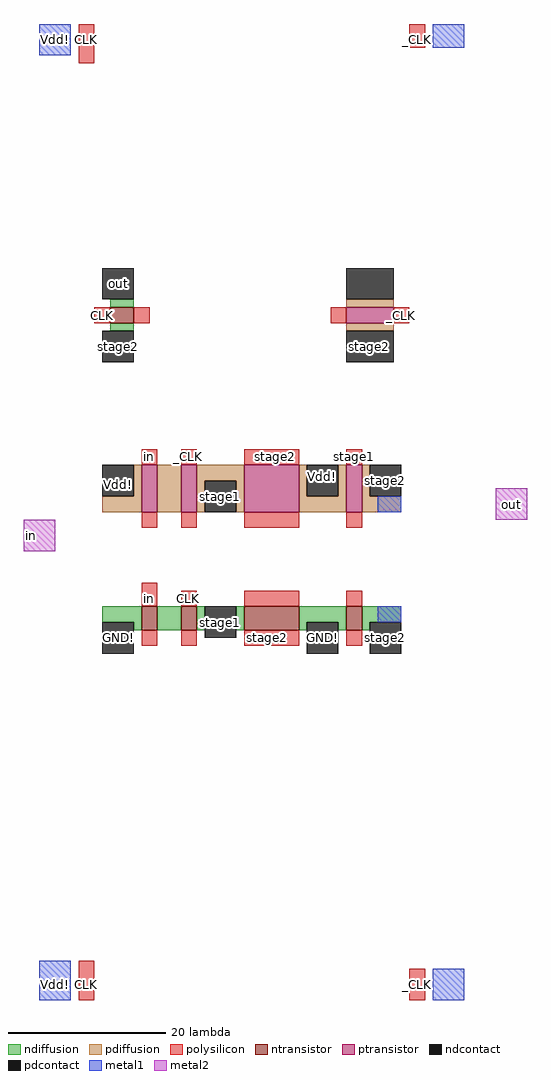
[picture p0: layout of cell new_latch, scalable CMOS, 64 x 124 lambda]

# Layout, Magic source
magic
tech scmos
<< ntransistor >>
rect 43 58 46 60
rect 47 19 49 22
rect 52 19 54 22
rect 60 19 67 22
rect 73 19 75 22
<< ptransistor >>
rect 73 58 79 60
rect 47 34 49 40
rect 52 34 54 40
rect 60 34 67 40
rect 73 34 75 40
<< ndiffusion >>
rect 43 60 46 61
rect 43 57 46 58
rect 42 20 47 22
rect 46 19 47 20
rect 49 19 52 22
rect 54 19 55 22
rect 59 19 60 22
rect 67 20 73 22
rect 67 19 68 20
rect 72 19 73 20
rect 75 20 80 22
rect 75 19 76 20
<< pdiffusion >>
rect 73 60 79 61
rect 73 57 79 58
rect 46 36 47 40
rect 42 34 47 36
rect 49 34 52 40
rect 54 38 60 40
rect 54 34 55 38
rect 59 34 60 38
rect 67 36 68 40
rect 72 36 73 40
rect 67 34 73 36
rect 75 36 76 40
rect 75 34 80 36
<< ndcontact >>
rect 42 61 46 65
rect 42 53 46 57
rect 42 16 46 20
rect 55 18 59 22
rect 68 16 72 20
rect 76 16 80 20
<< pdcontact >>
rect 73 61 79 65
rect 73 53 79 57
rect 42 36 46 40
rect 55 34 59 38
rect 68 36 72 40
rect 76 36 80 40
<< polysilicon >>
rect 39 91 41 96
rect 81 93 83 96
rect 41 58 43 60
rect 46 58 48 60
rect 71 58 73 60
rect 79 58 81 60
rect 47 40 49 42
rect 52 40 54 42
rect 60 40 67 42
rect 73 40 75 42
rect 47 32 49 34
rect 52 32 54 34
rect 60 32 67 34
rect 73 32 75 34
rect 47 22 49 25
rect 52 22 54 24
rect 60 22 67 24
rect 73 22 75 24
rect 47 17 49 19
rect 52 17 54 19
rect 60 17 67 19
rect 73 17 75 19
rect 39 -28 41 -23
rect 81 -28 83 -24
<< metal1 >>
rect 34 92 38 96
rect 84 93 88 96
rect 77 34 80 36
rect 77 20 80 22
rect 34 -28 38 -23
rect 84 -28 88 -24
<< metal2 >>
rect 92 33 96 37
rect 32 29 36 33
<< labels >>
rlabel metal2 33 29 33 33 3 in
rlabel pdcontact 44 37 44 38 1 Vdd!
rlabel pdcontact 70 38 70 39 1 Vdd!
rlabel metal1 36 94 36 94 4 Vdd!
rlabel metal1 36 -26 36 -26 2 Vdd!
rlabel polysilicon 40 94 40 94 5 CLK
rlabel polysilicon 40 -26 40 -26 1 CLK
rlabel polysilicon 82 94 82 94 5 _CLK
rlabel polysilicon 82 -26 82 -26 1 _CLK
rlabel metal1 86 94 86 94 5 GND!
rlabel metal1 86 -26 86 -26 1 GND!
rlabel ndcontact 44 18 44 18 1 GND!
rlabel ndcontact 70 18 70 18 1 GND!
rlabel polysilicon 53 23 53 23 1 CLK
rlabel polysilicon 48 41 48 41 1 in
rlabel polysilicon 48 23 48 23 1 in
rlabel polysilicon 42 59 42 59 1 CLK
rlabel polysilicon 53 41 53 41 1 _CLK
rlabel polysilicon 80 59 80 59 1 _CLK
rlabel pdcontact 57 36 57 36 1 stage1
rlabel ndcontact 57 20 57 20 1 stage1
rlabel polysilicon 74 41 74 41 1 stage1
rlabel polysilicon 74 18 74 18 1 stage1
rlabel ndcontact 78 18 78 18 1 stage2
rlabel polysilicon 63 18 63 18 1 stage2
rlabel polysilicon 64 41 64 41 1 stage2
rlabel pdcontact 78 38 78 38 1 stage2
rlabel pdcontact 76 55 76 55 1 stage2
rlabel ndcontact 44 55 44 55 1 stage2
rlabel ndcontact 44 63 44 63 1 out
rlabel metal2 94 35 94 35 7 out
<< end >>
